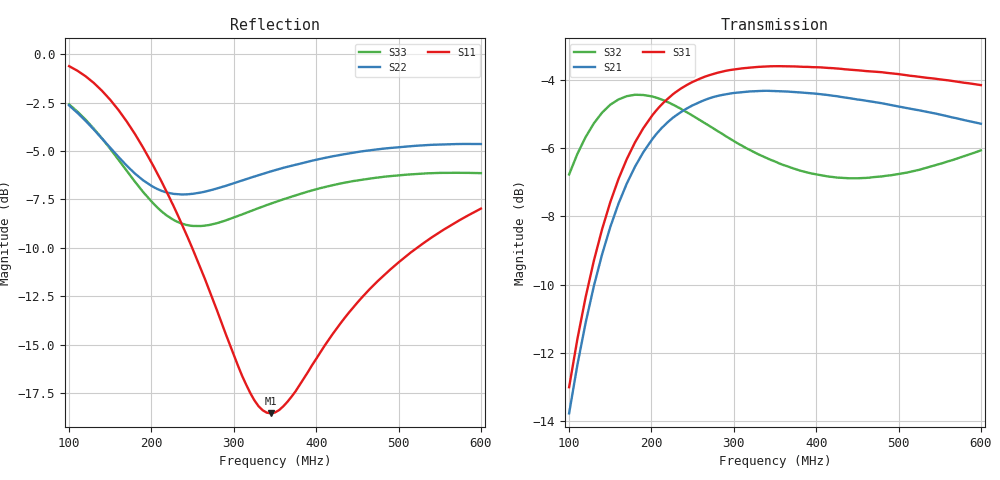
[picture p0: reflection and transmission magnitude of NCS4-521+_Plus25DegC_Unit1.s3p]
!Created: 09-14-2018 at 11:58:25
!Mini-Circuits
!S3P DATA File Format
!Type: Transformer
!MODEL: NCS4-521+
!S/N: Unit 1
!Port 1: Input 50 ohm; Port 2: Output 100 ohm; Port 3: Output 100 ohm
!TEST CONDITIONS: Z:50 OHM SYSTEM, INPUT POWER = -10dBm, TEMP:25°C
!RUN#: AP180248
!REMARK: 3 Port Calibration with E CAL N4433A S/N:71121 PORT EXTENSION IS APPLIED.
!TEST FIXTURE:90-4-20-142 S/N:70538 CAL DUE:01/27/2019
!TESTED ON: NETWORK ANALYZER MODEL AG E5071C S/N 76113 CAL DUE DATE 05/10/2019
# MHZ S DB R 50
!Frequency
!  S11 dB  S11 DEG  S12 dB  S12 DEG  S13 dB  S13 DEG
!  S21 dB  S21 DEG  S22 dB  S22 DEG  S23 dB  S23 DEG
!  S31 dB  S31 DEG  S32 dB  S32 DEG  S33 dB  S33 DEG
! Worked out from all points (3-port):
!   130 points, 100 MHz to 600 MHz, reference 50 ohm
!   strongest paths, dB at 100 MHz, 222 MHz, 280 MHz, 440 MHz, 600 MHz:
!     S31: -13.0, -4.5, -3.8, -3.7, -4.2
!     S21: -13.8, -5.2, -4.5, -4.5, -5.3
!     S32: -6.8, -4.7, -5.5, -6.9, -6.1
!   lowest |S11| = -18.5 dB at 345 MHz (marker M1), VSWR 1.27, Z = 40.4 + j4.62 ohm
!   |S11| at or under -10 dB: 249.4 MHz to 522.4 MHz (273 MHz wide, 70.7 % of centre)
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100  -0.61 -43.1  -13.77 108.6  -13.00 -71.7
     -13.76 108.5  -2.64 124.0  -6.78 -157.6
     -13.00 -71.7  -6.78 -157.6  -2.59 107.6
150  -2.36 -69.4  -8.31 74.7  -7.57 -107.7
     -8.31 74.6  -4.83 104.0  -4.75 170.5
     -7.59 -107.7  -4.74 170.5  -4.89 79.6
180  -4.12 -85.1  -6.54 55.7  -5.82 -127.5
     -6.55 55.6  -6.17 97.7  -4.46 153.3
     -5.84 -127.5  -4.45 153.2  -6.59 69.7
212  -6.56 -101.3  -5.42 37.5  -4.72 -146.2
     -5.43 37.4  -7.05 95.1  -4.60 137.5
     -4.74 -146.2  -4.58 137.5  -8.11 65.8
270  -12.17 -132.6  -4.55 10.4  -3.86 -173.7
     -4.55 10.3  -7.04 90.4  -5.38 115.9
     -3.88 -173.6  -5.35 115.9  -8.82 65.8
320  -17.50 -176.8  -4.34 -8.7  -3.64 167.8
     -4.35 -8.7  -6.38 81.6  -6.09 103.0
     -3.65 167.9  -6.07 103.0  -8.11 62.5
345  -18.55 151.5  -4.32 -17.1  -3.60 159.8
     -4.33 -17.2  -6.05 76.1  -6.37 97.9
     -3.61 159.9  -6.35 97.8  -7.71 59.2
350  -18.51 145.3  -4.32 -18.8  -3.60 158.3
     -4.34 -18.8  -5.99 75.0  -6.43 97.0
     -3.61 158.4  -6.40 96.9  -7.64 58.5
475  -11.71 73.1  -4.67 -55.1  -3.77 126.6
     -4.67 -55.1  -4.91 43.0  -6.87 79.4
     -3.78 126.7  -6.85 79.2  -6.37 37.2
600  -7.97 52.0  -5.30 -87.7  -4.16 102.3
     -5.29 -87.6  -4.64 9.7  -6.07 64.1
     -4.16 102.4  -6.07 63.9  -6.14 17.0
